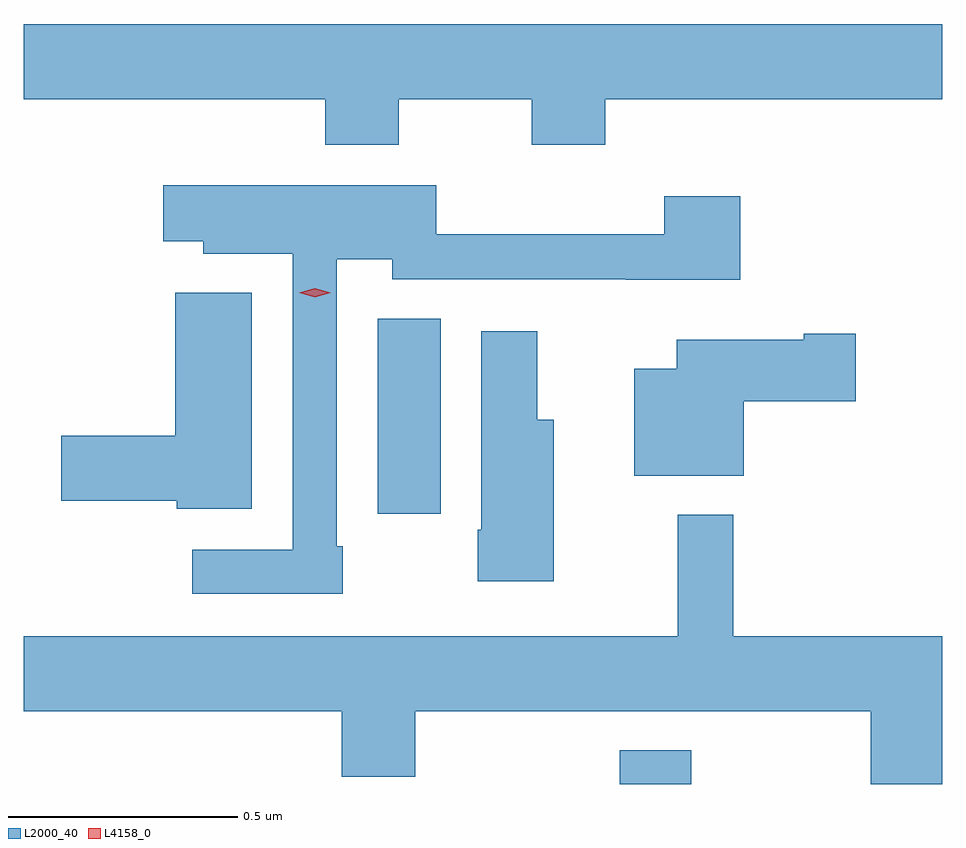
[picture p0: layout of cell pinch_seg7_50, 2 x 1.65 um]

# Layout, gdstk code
import gdstk
lib = gdstk.Library(unit=1e-6, precision=1e-09)
def R(c, l, rs):  # rectangles x0, y0, x1, y1
    for r in rs: c.add(gdstk.rectangle(r[:2], r[2:], *l))
def P(c, l, *ps):  # polygons
    for p in ps: c.add(gdstk.Polygon(p, *l))
L2000_40 = (2000, 40)
L4158_0 = (4158, 0)

pinch_seg7_50 = lib.new_cell('pinch_seg7_50')
R(pinch_seg7_50, L2000_40, [(910.474,1052.406,910.629,1052.479), (909.947,1052.994,910.084,1053.419)])
P(pinch_seg7_50, L2000_40, [(909.993,1053.896),(910.282,1053.896),(910.282,1053.797),(910.442,1053.797),(910.442,1053.896),(911.176,1053.896),(911.176,1054.06),(909.176,1054.06),(909.176,1053.896),(909.833,1053.896),(909.833,1053.797),(909.993,1053.797)],
  [(909.871,1052.923),(909.858,1052.923),(909.858,1053.548),(909.978,1053.548),(909.978,1053.504),(910.487,1053.504),(910.487,1053.503),(910.736,1053.503),(910.736,1053.685),(910.571,1053.685),(910.571,1053.602),(910.074,1053.602),(910.074,1053.709),(909.48,1053.709),(909.48,1053.587),(909.567,1053.587),(909.567,1053.56),(909.762,1053.56),(909.762,1052.916),(909.543,1052.916),(909.543,1052.82),(909.871,1052.82)],
  [(909.673,1053.475),(909.506,1053.475),(909.506,1053.164),(909.258,1053.164),(909.258,1053.022),(909.51,1053.022),(909.51,1053.005),(909.673,1053.005)],
  [(910.33,1053.199),(910.294,1053.199),(910.294,1053.391),(910.172,1053.391),(910.172,1052.959),(910.165,1052.959),(910.165,1052.847),(910.33,1052.847)],
  [(910.744,1053.239),(910.987,1053.239),(910.987,1053.386),(910.874,1053.386),(910.874,1053.373),(910.598,1053.373),(910.598,1053.31),(910.505,1053.31),(910.505,1053.077),(910.744,1053.077)],
  [(910.721,1052.992),(910.6,1052.992),(910.6,1052.728),(909.176,1052.728),(909.176,1052.564),(909.869,1052.564),(909.869,1052.422),(910.029,1052.422),(910.029,1052.564),(911.02,1052.564),(911.02,1052.406),(911.176,1052.406),(911.176,1052.728),(910.721,1052.728)])
P(pinch_seg7_50, L4158_0, [(909.81,1053.465),(909.776,1053.475),(909.776,1053.475),(909.776,1053.475),(909.81,1053.485),(909.845,1053.475),(909.845,1053.475),(909.845,1053.475)])

lib.write_gds('pinch_seg7_50.gds')
